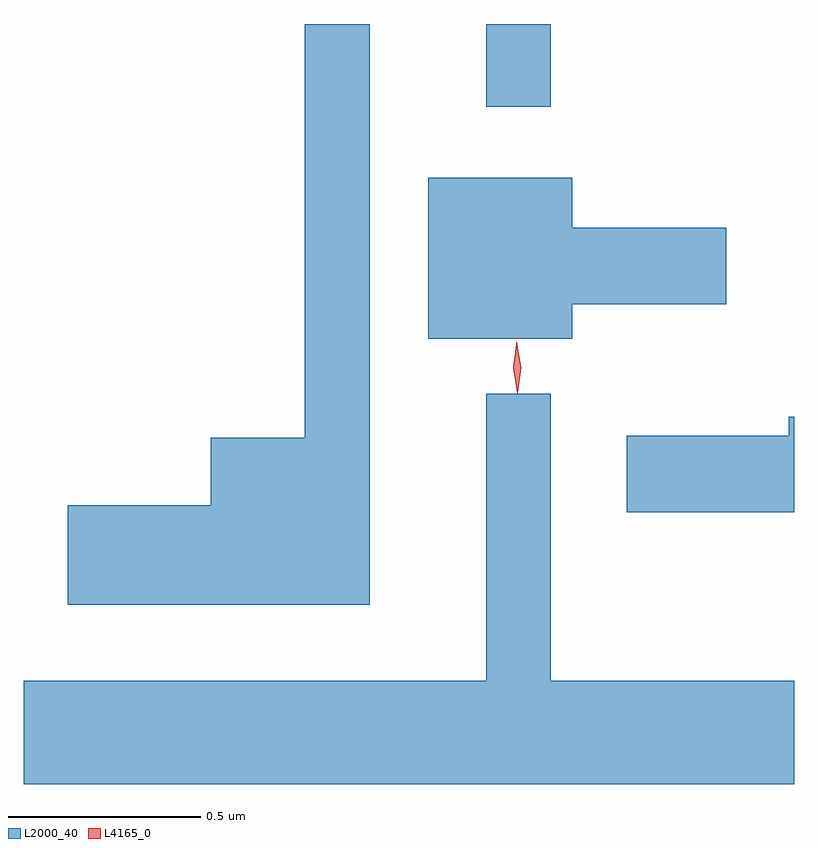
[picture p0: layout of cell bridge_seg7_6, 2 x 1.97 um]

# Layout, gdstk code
import gdstk
lib = gdstk.Library(unit=1e-6, precision=1e-09)
def R(c, l, rs):  # rectangles x0, y0, x1, y1
    for r in rs: c.add(gdstk.rectangle(r[:2], r[2:], *l))
def P(c, l, *ps):  # polygons
    for p in ps: c.add(gdstk.Polygon(p, *l))
L2000_40 = (2000, 40)
L4165_0 = (4165, 0)

bridge_seg7_6 = lib.new_cell('bridge_seg7_6')
R(bridge_seg7_6, L2000_40, [(1690.831,1769.353,1690.999,1769.568)])
P(bridge_seg7_6, L2000_40, [(1690.529,1769.568),(1690.361,1769.568),(1690.361,1768.494),(1690.116,1768.494),(1690.116,1768.319),(1689.746,1768.319),(1689.746,1768.061),(1690.529,1768.061)],
  [(1691.054,1768.841),(1691.454,1768.841),(1691.454,1769.039),(1691.054,1769.039),(1691.054,1769.169),(1690.681,1769.169),(1690.681,1768.751),(1691.054,1768.751)],
  [(1691.631,1767.864),(1690.999,1767.864),(1690.999,1768.608),(1690.831,1768.608),(1690.831,1767.864),(1689.631,1767.864),(1689.631,1767.596),(1691.631,1767.596)],
  [(1691.631,1768.549),(1691.616,1768.549),(1691.616,1768.499),(1691.196,1768.499),(1691.196,1768.301),(1691.631,1768.301)])
P(bridge_seg7_6, L4165_0, [(1690.912,1768.613),(1690.912,1768.613),(1690.902,1768.676),(1690.91,1768.739),(1690.911,1768.74),(1690.911,1768.739),(1690.922,1768.676),(1690.913,1768.613)],
  [(1690.912,1768.609),(1690.912,1768.61),(1690.902,1768.677),(1690.91,1768.745),(1690.911,1768.745),(1690.911,1768.745),(1690.921,1768.678),(1690.913,1768.61)])

lib.write_gds('bridge_seg7_6.gds')
